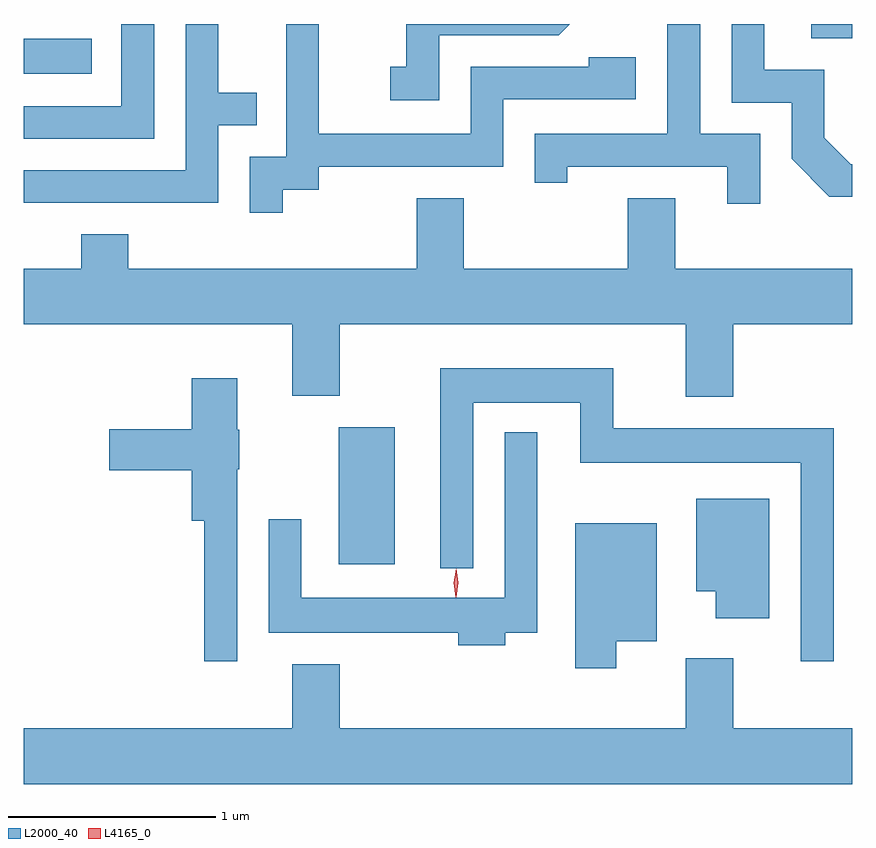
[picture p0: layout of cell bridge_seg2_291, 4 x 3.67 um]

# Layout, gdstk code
import gdstk
lib = gdstk.Library(unit=1e-6, precision=1e-09)
def R(c, l, rs):  # rectangles x0, y0, x1, y1
    for r in rs: c.add(gdstk.rectangle(r[:2], r[2:], *l))
def P(c, l, *ps):  # polygons
    for p in ps: c.add(gdstk.Polygon(p, *l))
L2000_40 = (2000, 40)
L4165_0 = (4165, 0)

bridge_seg2_291 = lib.new_cell('bridge_seg2_291')
R(bridge_seg2_291, L2000_40, [(411.736,1073.796,412.004,1074.459), (410.214,1076.166,410.543,1076.334), (414.016,1076.336,414.214,1076.405)])
P(bridge_seg2_291, L2000_40, [(413.769,1075.874),(413.479,1075.874),(413.479,1076.405),(413.321,1076.405),(413.321,1075.874),(412.681,1075.874),(412.681,1075.638),(412.839,1075.638),(412.839,1075.716),(413.611,1075.716),(413.611,1075.538),(413.769,1075.538)],
  [(412.219,1076.351),(412.797,1076.351),(412.851,1076.405),(412.061,1076.405),(412.061,1076.199),(411.983,1076.199),(411.983,1076.036),(412.219,1076.036)],
  [(411.154,1075.916),(411.338,1075.916),(411.338,1076.074),(411.154,1076.074),(411.154,1076.405),(410.996,1076.405),(410.996,1075.699),(410.214,1075.699),(410.214,1075.541),(411.154,1075.541)],
  [(411.464,1075.606),(411.639,1075.606),(411.639,1075.716),(412.529,1075.716),(412.529,1076.041),(413.169,1076.041),(413.169,1076.244),(412.941,1076.244),(412.941,1076.199),(412.371,1076.199),(412.371,1075.874),(411.639,1075.874),(411.639,1076.405),(411.481,1076.405),(411.481,1075.764),(411.306,1075.764),(411.306,1075.493),(411.464,1075.493)],
  [(410.844,1076.405),(410.686,1076.405),(410.686,1076.009),(410.214,1076.009),(410.214,1075.851),(410.844,1075.851)],
  [(414.214,1075.729),(414.207,1075.729),(414.079,1075.857),(414.079,1076.184),(413.789,1076.184),(413.789,1076.405),(413.631,1076.405),(413.631,1076.026),(413.921,1076.026),(413.921,1075.754),(414.104,1075.571),(414.214,1075.571)],
  [(413.639,1074.956),(414.214,1074.956),(414.214,1075.224),(413.359,1075.224),(413.359,1075.564),(413.131,1075.564),(413.131,1075.224),(412.339,1075.224),(412.339,1075.564),(412.111,1075.564),(412.111,1075.224),(410.719,1075.224),(410.719,1075.389),(410.491,1075.389),(410.491,1075.224),(410.214,1075.224),(410.214,1074.956),(411.511,1074.956),(411.511,1074.611),(411.739,1074.611),(411.739,1074.956),(413.411,1074.956),(413.411,1074.606),(413.639,1074.606)],
  [(414.124,1074.454),(413.059,1074.454),(413.059,1074.744),(412.226,1074.744),(412.226,1073.778),(412.384,1073.778),(412.384,1074.576),(412.901,1074.576),(412.901,1074.286),(413.966,1074.286),(413.966,1073.328),(414.124,1073.328)],
  [(411.244,1074.255),(411.254,1074.255),(411.254,1074.445),(411.244,1074.445),(411.244,1074.694),(411.026,1074.694),(411.026,1074.449),(410.626,1074.449),(410.626,1074.251),(411.026,1074.251),(411.026,1074.006),(411.086,1074.006),(411.086,1073.328),(411.244,1073.328)],
  [(412.539,1073.466),(412.694,1073.466),(412.694,1074.433),(412.536,1074.433),(412.536,1073.634),(411.554,1073.634),(411.554,1074.013),(411.396,1074.013),(411.396,1073.466),(412.311,1073.466),(412.311,1073.406),(412.539,1073.406)],
  [(413.814,1074.114),(413.461,1074.114),(413.461,1073.666),(413.556,1073.666),(413.556,1073.536),(413.814,1073.536)],
  [(413.074,1073.426),(413.269,1073.426),(413.269,1073.994),(412.876,1073.994),(412.876,1073.296),(413.074,1073.296)],
  [(414.214,1073.004),(413.639,1073.004),(413.639,1073.344),(413.411,1073.344),(413.411,1073.004),(411.739,1073.004),(411.739,1073.314),(411.511,1073.314),(411.511,1073.004),(410.214,1073.004),(410.214,1072.736),(414.214,1072.736)])
P(bridge_seg2_291, L4165_0, [(412.301,1073.637),(412.3,1073.638),(412.291,1073.707),(412.301,1073.776),(412.302,1073.776),(412.302,1073.776),(412.311,1073.707),(412.301,1073.638)])

lib.write_gds('bridge_seg2_291.gds')
